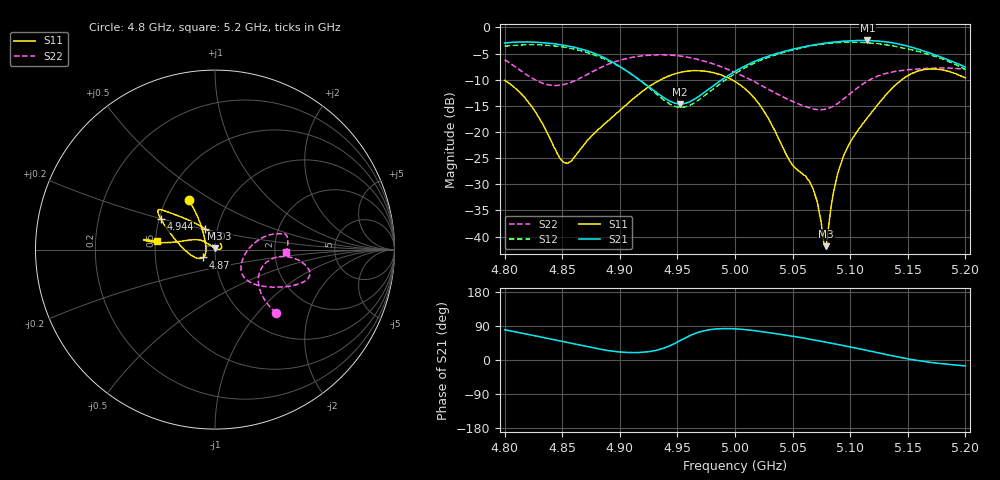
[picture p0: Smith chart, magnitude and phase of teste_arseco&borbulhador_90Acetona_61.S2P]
! Network Analyzer HP8722D
! Hewlett-Packard
! Data name: Linha & Wilkinson
! Saver's name: Rodrigo Anjos
! Comments: Teste da utilização de aquisição
! continua pelo VNA HP8722D
! Time and date: 17/4/2025 11:33
!  Frequency  S11  S21  S12  S22
# HZ  S  MA R 50
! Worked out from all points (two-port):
!   401 points, 4.8 GHz to 5.2 GHz, reference 50 ohm
!   highest |S21| = -2.50 dB at 5.115 GHz (marker M1); lowest = -14.6 dB at 4.952 GHz (marker M2)
!   |S21| within 3 dB of the highest: start of sweep to 4.883 GHz; 5.029 GHz to 5.176 GHz (147.6 MHz wide, 2.89 % of centre)
!   lowest |S11| = -41.8 dB at 5.079 GHz (marker M3), VSWR 1.02, Z = 50.1 + j0.803 ohm
!   |S11| at or under -10 dB: start of sweep to 4.935 GHz; 4.997 GHz to 5.145 GHz (147.6 MHz wide, 2.91 % of centre)
!   |S22| runs from -15.7 to -5.2 dB; largest |S21 - S12| = 1
!   S11 on the Smith chart (normalised r, x): 4.8 GHz: 0.65, +0.40; 4.87 GHz: 0.88, -0.08; 4.944 GHz: 0.51, +0.20; 5.03 GHz: 0.87, +0.20; 5.2 GHz: 0.51, +0.06
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4.8e9  0.3119 118.0  0.7099 79.8  0.6619 -14.6  0.4893 -46.0
4.824e9  0.1726 119.1  0.7237 65.2  0.6824 -25.3  0.3257 -40.8
4.85e9  0.05274 163.5  0.6774 49.1  0.6513 -37.7  0.2816 -19.0
4.867e9  0.07087 -147.3  0.6195 38.2  0.5941 -46.5  0.3333 -7.9
4.87e9  0.07802 -146.1  0.6057 36.6  0.5832 -48.3  0.3469 -6.9
4.901e9  0.1643 -177.9  0.4166 21.1  0.412 -62.1  0.4884 -8.3
4.934e9  0.3103 154.4  0.229 27.3  0.2206 -59.2  0.5472 -15.0
4.944e9  0.3483 150.4  0.1959 38.3  0.1832 -47.5  0.5424 -17.3
4.952e9  0.3699 148.1  0.1852 50.6  0.172 -34.4  0.5328 -19.0
5e9  0.3043 139.5  0.3793 82.0  0.3616 4.2  0.3709 -34.1
5.03e9  0.1282 115.6  0.536 72.0  0.5227 -2.5  0.2519 -43.6
5.048e9  0.0522 63.2  0.6111 63.6  0.6007 -9.2  0.1999 -41.6
5.067e9  0.02971 6.1  0.6762 53.8  0.6685 -18.4  0.1669 -28.8
5.072e9  0.02001 4.8  0.6901 51.0  0.6827 -21.2  0.164 -22.7
5.077e9  0.008812 37.6  0.7032 48.1  0.6945 -24.1  0.1639 -15.8
5.079e9  0.008089 81.9  0.7084 47.0  0.699 -25.4  0.1659 -12.8
5.086e9  0.02807 133.7  0.7238 42.9  0.7102 -29.6  0.178 -2.9
5.092e9  0.05006 139.8  0.7333 39.3  0.7175 -33.4  0.1974 4.3
5.115e9  0.137 156.6  0.7501 25.0  0.714 -48.1  0.3067 14.9
5.134e9  0.2458 170.5  0.72 12.7  0.6726 -59.6  0.3702 13.8
5.164e9  0.3937 172.5  0.5923 -3.7  0.5688 -73.8  0.4049 11.9
5.2e9  0.3285 171.3  0.4167 -15.6  0.3951 -84.5  0.397 -1.6
